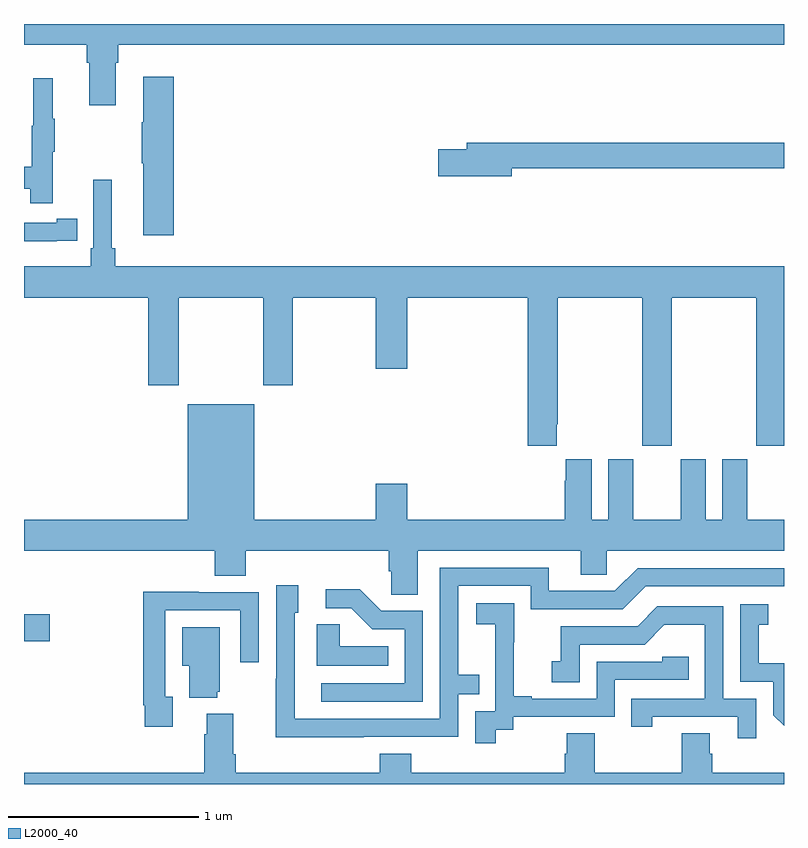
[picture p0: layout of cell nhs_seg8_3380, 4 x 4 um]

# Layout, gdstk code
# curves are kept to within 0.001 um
import gdstk
lib = gdstk.Library(unit=1e-6, precision=1e-09)
def R(c, l, rs):  # rectangles x0, y0, x1, y1
    for r in rs: c.add(gdstk.rectangle(r[:2], r[2:], *l))
def P(c, l, *ps):  # polygons
    for p in ps: c.add(gdstk.Polygon(p, *l))
L2000_40 = (2000, 40)

nhs_seg8_3380 = lib.new_cell('nhs_seg8_3380')
R(nhs_seg8_3380, L2000_40, [(319,1154.651,319.135,1154.793)])
P(nhs_seg8_3380, L2000_40, [(319.483,1157.696),(319.496,1157.696),(319.496,1157.792),(323,1157.792),(323,1157.9),(319,1157.9),(319,1157.792),(319.331,1157.792),(319.331,1157.696),(319.343,1157.696),(319.343,1157.472),(319.483,1157.472)],
  [(319.787,1157.623),(319.628,1157.623),(319.628,1157.384),(319.621,1157.384),(319.621,1157.167),(319.628,1157.167),(319.628,1156.788),(319.787,1156.788)],
  [(319.151,1157.227),(319.162,1157.227),(319.162,1157.401),(319.151,1157.401),(319.151,1157.614),(319.048,1157.614),(319.048,1157.364),(319.041,1157.364),(319.041,1157.15),(319,1157.15),(319,1157.034),(319.033,1157.034),(319.033,1156.956),(319.151,1156.956)],
  [(321.568,1157.14),(323,1157.14),(323,1157.276),(321.329,1157.276),(321.329,1157.24),(321.18,1157.24),(321.18,1157.098),(321.568,1157.098)],
  [(321.805,1155.793),(321.81,1155.793),(321.81,1156.46),(322.255,1156.46),(322.255,1155.681),(322.41,1155.681),(322.41,1156.46),(322.855,1156.46),(322.855,1155.681),(323,1155.681),(323,1156.624),(319.481,1156.624),(319.481,1156.72),(319.462,1156.72),(319.462,1157.08),(319.365,1157.08),(319.365,1156.72),(319.352,1156.72),(319.352,1156.624),(319,1156.624),(319,1156.46),(319.655,1156.46),(319.655,1155.999),(319.815,1155.999),(319.815,1156.46),(320.26,1156.46),(320.26,1155.999),(320.415,1155.999),(320.415,1156.46),(320.852,1156.46),(320.852,1156.086),(321.016,1156.086),(321.016,1156.46),(321.65,1156.46),(321.65,1155.681),(321.805,1155.681)],
  [(319.172,1156.758),(319.28,1156.758),(319.28,1156.874),(319.172,1156.874),(319.172,1156.854),(319,1156.854),(319,1156.757),(319.172,1156.757)],
  [(321.073,1155.128),(321.929,1155.128),(321.929,1155.001),(322.068,1155.001),(322.068,1155.128),(323,1155.128),(323,1155.292),(322.807,1155.292),(322.807,1155.61),(322.676,1155.61),(322.676,1155.292),(322.588,1155.292),(322.588,1155.61),(322.457,1155.61),(322.457,1155.292),(322.207,1155.292),(322.207,1155.61),(322.076,1155.61),(322.076,1155.292),(321.988,1155.292),(321.988,1155.61),(321.851,1155.61),(321.851,1155.497),(321.845,1155.497),(321.845,1155.292),(321.016,1155.292),(321.016,1155.481),(320.852,1155.481),(320.852,1155.292),(320.212,1155.292),(320.212,1155.898),(319.862,1155.898),(319.862,1155.292),(319,1155.292),(319,1155.128),(320.003,1155.128),(320.003,1154.995),(320.168,1154.995),(320.168,1155.128),(320.921,1155.128),(320.921,1155.019),(320.934,1155.019),(320.934,1154.896),(321.073,1154.896)],
  [(320.789,1154.148),(321.285,1154.148),(321.285,1154.373),(321.395,1154.373),(321.395,1154.474),(321.285,1154.474),(321.285,1154.943),(321.666,1154.943),(321.666,1154.82),(322.152,1154.82),(322.272,1154.94),(323,1154.94),(323,1155.036),(322.23,1155.036),(322.11,1154.916),(321.763,1154.916),(321.763,1155.039),(321.189,1155.039),(321.189,1154.244),(320.424,1154.244),(320.424,1154.802),(320.443,1154.802),(320.443,1154.947),(320.328,1154.947),(320.328,1154.453),(320.326,1154.453),(320.326,1154.147)],
  [(321.099,1154.811),(320.88,1154.811),(320.767,1154.924),(320.589,1154.924),(320.589,1154.826),(320.723,1154.826),(320.834,1154.715),(321.003,1154.715),(321.003,1154.43),(320.565,1154.43),(320.565,1154.334),(321.099,1154.334)],
  [(319.783,1154.358),(319.743,1154.358),(319.743,1154.814),(320.139,1154.814),(320.139,1154.541),(320.235,1154.541),(320.235,1154.91),(319.919,1154.91),(319.919,1154.912),(319.627,1154.912),(319.627,1154.314),(319.635,1154.314),(319.635,1154.202),(319.783,1154.202)],
  [(321.484,1154.185),(321.576,1154.185),(321.576,1154.253),(322.11,1154.253),(322.11,1154.448),(322.499,1154.448),(322.499,1154.571),(322.359,1154.571),(322.359,1154.544),(322.014,1154.544),(322.014,1154.349),(321.673,1154.349),(321.673,1154.362),(321.578,1154.362),(321.578,1154.645),(321.579,1154.645),(321.579,1154.851),(321.381,1154.851),(321.381,1154.741),(321.479,1154.741),(321.479,1154.513),(321.48,1154.513),(321.48,1154.283),(321.375,1154.283),(321.375,1154.115),(321.484,1154.115)],
  [(323,1154.535),(322.867,1154.535),(322.867,1154.739),(322.916,1154.739),(322.916,1154.845),(322.77,1154.845),(322.77,1154.439),(322.944,1154.439),(322.944,1154.262),(323,1154.207)],
  [(322.854,1154.349),(322.68,1154.349),(322.68,1154.835),(322.334,1154.835),(322.229,1154.73),(321.826,1154.73),(321.826,1154.545),(321.777,1154.545),(321.777,1154.436),(321.924,1154.436),(321.924,1154.634),(322.266,1154.634),(322.37,1154.738),(322.584,1154.738),(322.584,1154.349),(322.195,1154.349),(322.195,1154.202),(322.306,1154.202),(322.306,1154.253),(322.757,1154.253),(322.757,1154.142),(322.854,1154.142)],
  [(320.918,1154.626),(320.661,1154.626),(320.661,1154.741),(320.54,1154.741),(320.54,1154.522),(320.918,1154.522)],
  [(320.018,1154.385),(320.029,1154.385),(320.029,1154.725),(319.832,1154.725),(319.832,1154.522),(319.871,1154.522),(319.871,1154.354),(320.018,1154.354)],
  [(323,1153.96),(322.622,1153.96),(322.622,1154.058),(322.609,1154.058),(322.609,1154.168),(322.462,1154.168),(322.462,1153.96),(322.005,1153.96),(322.005,1154.168),(321.857,1154.168),(321.857,1154.058),(321.845,1154.058),(321.845,1153.96),(321.038,1153.96),(321.038,1154.059),(320.873,1154.059),(320.873,1153.96),(320.114,1153.96),(320.114,1154.056),(320.101,1154.056),(320.101,1154.269),(319.961,1154.269),(319.961,1154.162),(319.949,1154.162),(319.949,1153.96),(319,1153.96),(319,1153.9),(323,1153.9)])

lib.write_gds('nhs_seg8_3380.gds')
